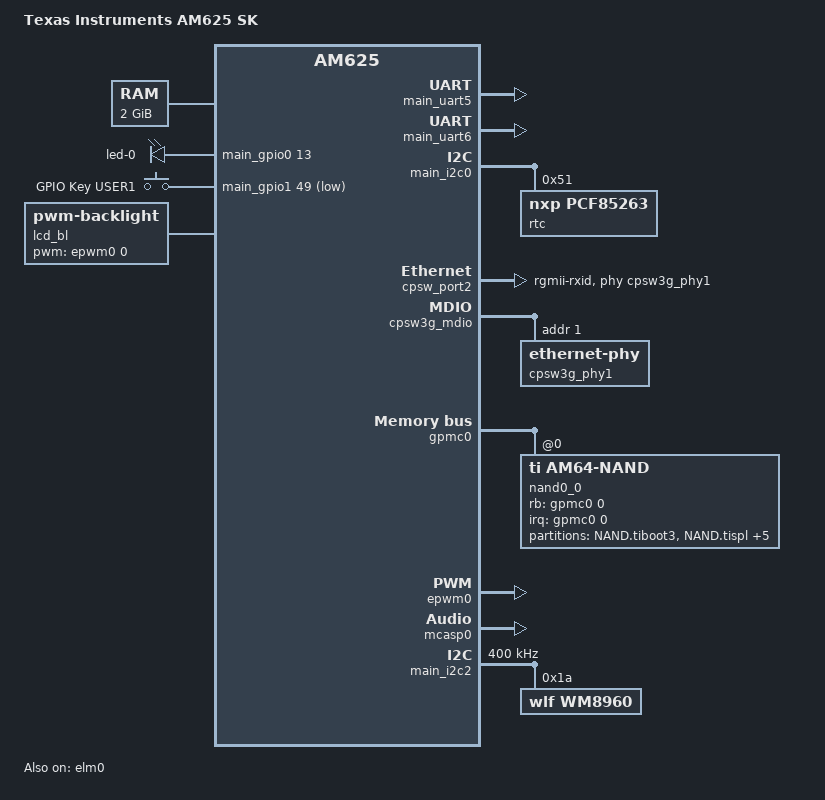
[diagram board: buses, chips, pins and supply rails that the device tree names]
/*
 * AM625 SK: https://www.ti.com/lit/zip/sprr448
 *
 * Copyright (C) 2021-2022 Texas Instruments Incorporated - https://www.ti.com/
 */

/dts-v1/;

#include <dt-bindings/input/input.h>
#include "k3-am62x-sk-common.dtsi"

/ {
	compatible = "ti,am625-sk", "ti,am625";
	model = "Texas Instruments AM625 SK";

	aliases {
		serial5 = &main_uart5;
		serial6 = &main_uart6;
	};

	opp-table {
		/* Add 1.4GHz OPP for am625-sk board. Requires VDD_CORE to be at 0.85V */
		opp-1400000000 {
			opp-hz = /bits/ 64 <1400000000>;
			opp-supported-hw = <0x01 0x0004>;
			clock-latency-ns = <6000000>;
		};
	};

	memory@80000000 {
		device_type = "memory";
		/* 2G RAM */
		reg = <0x00000000 0x80000000 0x00000000 0x80000000>;

	};

	/* crazyboys 20230713 removed wlan */
#if 0
	vmain_pd: regulator-0 {
		/* TPS65988 PD CONTROLLER OUTPUT */
		bootph-all;
		compatible = "regulator-fixed";
		regulator-name = "vmain_pd";
		regulator-min-microvolt = <5000000>;
		regulator-max-microvolt = <5000000>;
		regulator-always-on;
		regulator-boot-on;
	};

	vcc_5v0: regulator-1 {
		/* Output of LM34936 */
		bootph-all;
		compatible = "regulator-fixed";
		regulator-name = "vcc_5v0";
		regulator-min-microvolt = <5000000>;
		regulator-max-microvolt = <5000000>;
		vin-supply = <&vmain_pd>;
		regulator-always-on;
		regulator-boot-on;
	};

	vcc_3v3_sys: regulator-2 {
		/* output of LM61460-Q1 */
		bootph-all;
		compatible = "regulator-fixed";
		regulator-name = "vcc_3v3_sys";
		regulator-min-microvolt = <3300000>;
		regulator-max-microvolt = <3300000>;
		vin-supply = <&vmain_pd>;
		regulator-always-on;
		regulator-boot-on;
	};

	vdd_mmc1: regulator-3 {
		/* TPS22918DBVR */
		bootph-all;
		compatible = "regulator-fixed";
		regulator-name = "vdd_mmc1";
		regulator-min-microvolt = <3300000>;
		regulator-max-microvolt = <3300000>;
		regulator-boot-on;
		enable-active-high;
		vin-supply = <&vcc_3v3_sys>;
		gpio = <&exp1 3 GPIO_ACTIVE_HIGH>;
	};

	vdd_sd_dv: regulator-4 {
		/* Output of TLV71033 */
		bootph-all;
		compatible = "regulator-gpio";
		regulator-name = "tlv71033";
		pinctrl-names = "default";
		pinctrl-0 = <&vdd_sd_dv_pins_default>;
		regulator-min-microvolt = <1800000>;
		regulator-max-microvolt = <3300000>;
		regulator-boot-on;
		vin-supply = <&vcc_5v0>;
		gpios = <&main_gpio0 31 GPIO_ACTIVE_HIGH>;
		states = <1800000 0x0>,
			 <3300000 0x1>;
	};

	vcc_1v8: regulator-5 {
		/* output of TPS6282518DMQ */
		compatible = "regulator-fixed";
		regulator-name = "vcc_1v8";
		regulator-min-microvolt = <1800000>;
		regulator-max-microvolt = <1800000>;
		vin-supply = <&vcc_3v3_sys>;
		regulator-always-on;
		regulator-boot-on;
	};
#endif
	/* crazyboys 20230713 user led */
	leds {
		led-0 {
			gpios = <&main_gpio0 13 GPIO_ACTIVE_HIGH>;
		};
	};

	/* crazyboys 20230713 gpio key */
	gpio-keys {
		compatible = "gpio-keys";
		autorepeat;
		pinctrl-names = "default";
		pinctrl-0 = <&push_button_pins_default>;

		sw1 {
			label = "GPIO Key USER1";
			linux,code = <BTN_0>;
			gpios = <&main_gpio1 49 GPIO_ACTIVE_LOW>;
		};
	};

	lcd_bl: backlight {
		compatible = "pwm-backlight";
		pwms = <&epwm0 0 50000 0>;
		brightness-levels =
			<0 32 64 96 128 160 192 224 255>;
		default-brightness-level = <8>;
	};

	codec_audio: sound {
		compatible = "simple-audio-card";
		simple-audio-card,name = "AM62x-SKEVM";
		simple-audio-card,widgets =
			"Headphone",	"Headphone Jack",
			"Line",	"Line In",
            "Speaker", "Ext Spk",
			"Microphone",	"Microphone Jack";
		simple-audio-card,routing =
            "Playback",     "HP_L",
            "Playback",     "HP_R",
            "Playback", "SPK_LP",
            "Playback", "SPK_LN",
            "Playback", "SPK_RP",
            "Playback", "SPK_RN",
            "Headphone Jack", "HP_L",
            "Headphone Jack", "HP_R",
            "Ext Spk", "SPK_LP",
            "Ext Spk", "SPK_LN",
            "Ext Spk", "SPK_RP",
            "Ext Spk", "SPK_RN",
            "LINPUT1", "MICB";
		simple-audio-card,format = "i2s";
//		simple-audio-card,mclk-fs = <12288000>;

		/* crazyboy 20161215 CODEC is slave */
		/delete-property/ simple-audio-card,bitclock-master;
		/delete-property/ simple-audio-card,frame-master;
		/delete-property/ simple-audio-card,bitclock-inversion;

		simple-audio-card,system-clock-direction-out;
 
		simple-audio-card,cpu {
			sound-dai = <&mcasp0>;
			system-clock-frequency = <24000000>;
		};

		sound_master: simple-audio-card,codec {
			sound-dai = <&wm8960>;
			system-clock-frequency = <24000000>;
			/delete-property/ clocks;
		};
	};
};

/* crazyboys 20230712 removed */
/delete-node/ &ospi0_pins_default;
/delete-node/ &tlv320_mclk;

&main_pmx0 {
	main_rgmii2_pins_default: main-rgmii2-default-pins {
		bootph-all;
		pinctrl-single,pins = <
			AM62X_IOPAD(0x184, PIN_INPUT, 0) /* (AE23) RGMII2_RD0 */
			AM62X_IOPAD(0x188, PIN_INPUT, 0) /* (AB20) RGMII2_RD1 */
			AM62X_IOPAD(0x18c, PIN_INPUT, 0) /* (AC21) RGMII2_RD2 */
			AM62X_IOPAD(0x190, PIN_INPUT, 0) /* (AE22) RGMII2_RD3 */
			AM62X_IOPAD(0x180, PIN_INPUT, 0) /* (AD23) RGMII2_RXC */
			AM62X_IOPAD(0x17c, PIN_INPUT, 0) /* (AD22) RGMII2_RX_CTL */
			AM62X_IOPAD(0x16c, PIN_OUTPUT, 0) /* (Y18) RGMII2_TD0 */
			AM62X_IOPAD(0x170, PIN_OUTPUT, 0) /* (AA18) RGMII2_TD1 */
			AM62X_IOPAD(0x174, PIN_OUTPUT, 0) /* (AD21) RGMII2_TD2 */
			AM62X_IOPAD(0x178, PIN_OUTPUT, 0) /* (AC20) RGMII2_TD3 */
			AM62X_IOPAD(0x168, PIN_OUTPUT, 0) /* (AE21) RGMII2_TXC */
			AM62X_IOPAD(0x164, PIN_OUTPUT, 0) /* (AA19) RGMII2_TX_CTL */
		>;
	};

	/* crazyboys 20230713 removed wlan */
#if 0
	ospi0_pins_default: ospi0-default-pins {
		bootph-all;
		pinctrl-single,pins = <
			AM62X_IOPAD(0x000, PIN_OUTPUT, 0) /* (H24) OSPI0_CLK */
			AM62X_IOPAD(0x02c, PIN_OUTPUT, 0) /* (F23) OSPI0_CSn0 */
			AM62X_IOPAD(0x00c, PIN_INPUT, 0) /* (E25) OSPI0_D0 */
			AM62X_IOPAD(0x010, PIN_INPUT, 0) /* (G24) OSPI0_D1 */
			AM62X_IOPAD(0x014, PIN_INPUT, 0) /* (F25) OSPI0_D2 */
			AM62X_IOPAD(0x018, PIN_INPUT, 0) /* (F24) OSPI0_D3 */
			AM62X_IOPAD(0x01c, PIN_INPUT, 0) /* (J23) OSPI0_D4 */
			AM62X_IOPAD(0x020, PIN_INPUT, 0) /* (J25) OSPI0_D5 */
			AM62X_IOPAD(0x024, PIN_INPUT, 0) /* (H25) OSPI0_D6 */
			AM62X_IOPAD(0x028, PIN_INPUT, 0) /* (J22) OSPI0_D7 */
			AM62X_IOPAD(0x008, PIN_INPUT, 0) /* (J24) OSPI0_DQS */
		>;
	};

	vdd_sd_dv_pins_default: vdd-sd-dv-default-pins {
		bootph-all;
		pinctrl-single,pins = <
			AM62X_IOPAD(0x07c, PIN_OUTPUT, 7) /* (P25) GPMC0_CLK.GPIO0_31 */
		>;
	};

	main_gpio1_ioexp_intr_pins_default: main-gpio1-ioexp-intr-default-pins {
		bootph-all;
		pinctrl-single,pins = <
			AM62X_IOPAD(0x01d4, PIN_INPUT, 7) /* (B15) UART0_RTSn.GPIO1_23 */
		>;
	};
#endif
		/* crazyboys 20230713 user led */
	usr_led_pins_default: usr-led-default-pins {
		pinctrl-single,pins = <
			AM62X_IOPAD(0x034, PIN_OUTPUT, 7) /* (H21) OSPI0_CSn2.GPIO0_13 */
			AM62X_IOPAD(0x000, PIN_OUTPUT, 7) /* (H24) OSPI0_CLK.GPIO0_0 */
			AM62X_IOPAD(0x038, PIN_OUTPUT, 7) /* (E24) OSPI0_CSn3.GPIO0_14 */
			AM62X_IOPAD(0x094, PIN_OUTPUT, 7) /* (N20) GPMC0_BE1n.GPIO0_36 */
		>;
	};

	/* crazyboys 20230713 gpio key */
	push_button_pins_default: push-button-pins-default {
		pinctrl-single,pins = <
			AM62X_IOPAD(0x244, PIN_INPUT, 7) /* (C17) MMC1_SDWP.GPIO1_49 */
		>;
	};

	main_usb0_pins_default: main-usb0-pins-default {
	    pinctrl-single,pins = <
            AM62X_IOPAD(0x254, PIN_INPUT, 7) /* (C20) USB0_DRVVBUS.GPIO1_50 */
	    >;
	};

	main_usb1_pins_default: main-usb1-default-pins {
		pinctrl-single,pins = <
			AM62X_IOPAD(0x0258, PIN_INPUT, 7) /* (F18/E16) USB1_DRVVBUS.GPIO1_51 */
		>;
	};

	/* crazyboys 20230713 nand */
	gpmc0_pins_default: gpmc0-pins-default {
		pinctrl-single,pins = <
			AM62X_IOPAD(0x003c, PIN_INPUT, 0) /* (M25) GPMC0_AD0 */
			AM62X_IOPAD(0x0040, PIN_INPUT, 0) /* (N23) GPMC0_AD1 */
			AM62X_IOPAD(0x0044, PIN_INPUT, 0) /* (N24) GPMC0_AD2 */
			AM62X_IOPAD(0x0048, PIN_INPUT, 0) /* (N25) GPMC0_AD3 */
			AM62X_IOPAD(0x004c, PIN_INPUT, 0) /* (P24) GPMC0_AD4 */
			AM62X_IOPAD(0x0050, PIN_INPUT, 0) /* (P22) GPMC0_AD5 */
			AM62X_IOPAD(0x0054, PIN_INPUT, 0) /* (P21) GPMC0_AD6 */
			AM62X_IOPAD(0x0058, PIN_INPUT, 0) /* (R23) GPMC0_AD7 */
			AM62X_IOPAD(0x0084, PIN_OUTPUT, 0) /* (L23) GPMC0_ADVn_ALE */
			AM62X_IOPAD(0x0088, PIN_OUTPUT, 0) /* (L24) GPMC0_OEn_REn */
			AM62X_IOPAD(0x008c, PIN_OUTPUT, 0) /* (L25) GPMC0_WEn */
			AM62X_IOPAD(0x0090, PIN_OUTPUT, 0) /* (M24) GPMC0_BE0n_CLE */
			AM62X_IOPAD(0x00a8, PIN_OUTPUT, 0) /* (M21) GPMC0_CSn0 */
			AM62X_IOPAD(0x0098, PIN_INPUT, 0) /* (U23) GPMC0_WAIT0 */
		>;
	};

	/* crazyboys 20230718 lcd pwm backlight */
	main_epwm0_pins_default: main-epwm0-pins-default {
		pinctrl-single,pins = <
			AM62X_IOPAD(0x01ac, PIN_OUTPUT, 6) /* (E19) MCASP0_AFSR.EHRPWM0_A */
		>;
	};

	main_mcasp0_pins_default: main-mcasp0-pins-default {
		pinctrl-single,pins = <
			AM62X_IOPAD(0x01a0, PIN_OUTPUT, 2) /* (E18) MCASP0_AXR0.AUDIO_EXT_REFCLK0 */
			AM62X_IOPAD(0x01a4, PIN_INPUT, 0) /* (B20) MCASP0_ACLKX.MCASP0_ACLKX */
			AM62X_IOPAD(0x01a8, PIN_INPUT, 0) /* (D20) MCASP0_AFSX.MCASP0_AFSX */
			AM62X_IOPAD(0x019c, PIN_OUTPUT, 0) /* (B18) MCASP0_AXR1.MCASP0_AXR1 */
			AM62X_IOPAD(0x0198, PIN_INPUT, 0) /* (A19) MCASP0_AXR2.MCASP0_AXR2 */
		>;
	};

	main_oldi0_pins_default: main-oldi0-pins-default {
		pinctrl-single,pins = <
			AM62X_IOPAD(0x0260, PIN_OUTPUT, 0) /* (AA5) OLDI0_A0N */
			AM62X_IOPAD(0x025c, PIN_OUTPUT, 0) /* (Y6) OLDI0_A0P */
			AM62X_IOPAD(0x0268, PIN_OUTPUT, 0) /* (AD3) OLDI0_A1N */
			AM62X_IOPAD(0x0264, PIN_OUTPUT, 0) /* (AB4) OLDI0_A1P */
			AM62X_IOPAD(0x0270, PIN_OUTPUT, 0) /* (Y8) OLDI0_A2N */
			AM62X_IOPAD(0x026c, PIN_OUTPUT, 0) /* (AA8) OLDI0_A2P */
			AM62X_IOPAD(0x0278, PIN_OUTPUT, 0) /* (AB6) OLDI0_A3N */
			AM62X_IOPAD(0x0274, PIN_OUTPUT, 0) /* (AA7) OLDI0_A3P */
			AM62X_IOPAD(0x0280, PIN_OUTPUT, 0) /* (AC6) OLDI0_A4N */
			AM62X_IOPAD(0x027c, PIN_OUTPUT, 0) /* (AC5) OLDI0_A4P */
			AM62X_IOPAD(0x0288, PIN_OUTPUT, 0) /* (AE5) OLDI0_A5N */
			AM62X_IOPAD(0x0284, PIN_OUTPUT, 0) /* (AD6) OLDI0_A5P */
			AM62X_IOPAD(0x0290, PIN_OUTPUT, 0) /* (AE6) OLDI0_A6N */
			AM62X_IOPAD(0x028c, PIN_OUTPUT, 0) /* (AD7) OLDI0_A6P */
			AM62X_IOPAD(0x0298, PIN_OUTPUT, 0) /* (AD8) OLDI0_A7N */
			AM62X_IOPAD(0x0294, PIN_OUTPUT, 0) /* (AE7) OLDI0_A7P */
			AM62X_IOPAD(0x02a0, PIN_OUTPUT, 0) /* (AD4) OLDI0_CLK0N */
			AM62X_IOPAD(0x029c, PIN_OUTPUT, 0) /* (AE3) OLDI0_CLK0P */
			AM62X_IOPAD(0x02a8, PIN_OUTPUT, 0) /* (AE4) OLDI0_CLK1N */
			AM62X_IOPAD(0x02a4, PIN_OUTPUT, 0) /* (AD5) OLDI0_CLK1P */
		>;
	};

	main_uart5_pins_default: main-uart5-pins-default {
		pinctrl-single,pins = <
			AM62X_IOPAD(0x1d8, PIN_INPUT, 1) /* (C15/B13) MCAN0_TX.UART5_RXD */
			AM62X_IOPAD(0x1dc, PIN_OUTPUT, 1) /* (E15/A15) MCAN0_RX.UART5_TXD */
		>;
	};

	main_uart6_pins_default: main-uart6-pins-default {
		pinctrl-single,pins = <
			AM62X_IOPAD(0x01C, PIN_INPUT, 3) /* (D14/A13) OSPI0_D4.UART6_RXD */
			AM62X_IOPAD(0x020, PIN_OUTPUT, 3) /* (J25/H21) OSPI0_D5.UART6_TXD */
			AM62X_IOPAD(0x024, PIN_OUTPUT, 7) /* (H25/G20) OSPI0_D6.GPIO0_9 */
			AM62X_IOPAD(0x028, PIN_OUTPUT, 7) /* (J22/J21) OSPI0_D7.GPIO0_10 */
		>;
	};
};

&main_uart5 {
	status = "okay";
	pinctrl-names = "default";
	pinctrl-0 = <&main_uart5_pins_default>;
};

&main_uart6 {
	status = "okay";
	pinctrl-names = "default";
	pinctrl-0 = <&main_uart6_pins_default>;

	rs485-rts-delay = <1 1>;
	rs485-rts-active-high;
	rs485-rx-during-tx;
	rs485-rts-gpios = <&main_gpio0 9 GPIO_ACTIVE_HIGH>;
	rs485-term-gpios = <&main_gpio0 10 GPIO_ACTIVE_HIGH>;
	linux,rs485-enabled-at-boot-time;
};

/* crazyboys 20230713 RTC */
&main_i2c0 {
	/delete-node/ tps6598x@3f;

	rtc@51 {
		compatible = "nxp,pcf85263";
        reg = <0x51>;
	};
};

&main_gpio0 {
	bootph-all;
};

&main_gpio1 {
	bootph-all;
};

/* crazyboys 20230713 delete gpio expander */
&main_i2c1 {
	/delete-node/ sii9022@3b;
	/delete-node/ audio-codec@1b;

/*
	exp1: gpio@22 {
		compatible = "ti,tca6424";
		reg = <0x22>;
		gpio-controller;
		#gpio-cells = <2>;
		gpio-line-names = "GPIO_CPSW2_RST", "GPIO_CPSW1_RST",
				   "PRU_DETECT", "MMC1_SD_EN",
				   "VPP_LDO_EN", "EXP_PS_3V3_En",
				   "EXP_PS_5V0_En", "EXP_HAT_DETECT",
				   "GPIO_AUD_RSTn", "GPIO_eMMC_RSTn",
				   "UART1_FET_BUF_EN", "WL_LT_EN",
				   "GPIO_HDMI_RSTn", "CSI_GPIO1",
				   "CSI_GPIO2", "PRU_3V3_EN",
				   "HDMI_INTn", "PD_I2C_IRQ",
				   "MCASP1_FET_EN", "MCASP1_BUF_BT_EN",
				   "MCASP1_FET_SEL", "UART1_FET_SEL",
				   "TSINT#", "IO_EXP_TEST_LED";

		interrupt-parent = <&main_gpio1>;
		interrupts = <23 IRQ_TYPE_EDGE_FALLING>;
		interrupt-controller;
		#interrupt-cells = <2>;

		pinctrl-names = "default";
		pinctrl-0 = <&main_gpio1_ioexp_intr_pins_default>;
	};
*/
};

/* crazyboys 20230712 delete vmmc-supply/vqmmc-supply of MMC1 */
&sdhci1 {
	/delete-property/ vmmc-supply;
	/delete-property/ vqmmc-supply;
	no-1-8-v;
};

&sdhci2 {
	status = "disabled";
};


&cpsw3g {
	pinctrl-names = "default";
	pinctrl-0 = <&main_rgmii1_pins_default
		     &main_rgmii2_pins_default>;

	cpts@3d000 {
		/* MAP HW3_TS_PUSH to GENF1 */
		ti,pps = <2 1>;
	};
};

&cpsw_port2 {
	phy-mode = "rgmii-rxid";
	phy-handle = <&cpsw3g_phy1>;
};

&cpsw3g_mdio {
	cpsw3g_phy1: ethernet-phy@1 {
		reg = <1>;
		ti,rx-internal-delay = <DP83867_RGMIIDCTL_2_00_NS>;
		ti,fifo-depth = <DP83867_PHYCR_FIFO_DEPTH_4_B_NIB>;
		ti,min-output-impedance;
	};
};

&mailbox0_cluster0 {
	mbox_m4_0: mbox-m4-0 {
		ti,mbox-rx = <0 0 0>;
		ti,mbox-tx = <1 0 0>;
	};
};

&fss {
	bootph-all;
};

/* crazyboys 20230712 removed ospi0 */
&ospi0 {
	/delete-property/ pinctrl-names;
	/delete-property/ pinctrl-0;

	status = "disabled";
	
	/*
	flash@0{
		compatible = "jedec,spi-nor";
		reg = <0x0>;
		spi-tx-bus-width = <8>;
		spi-rx-bus-width = <8>;
		spi-max-frequency = <25000000>;
		cdns,tshsl-ns = <60>;
		cdns,tsd2d-ns = <60>;
		cdns,tchsh-ns = <60>;
		cdns,tslch-ns = <60>;
		cdns,read-delay = <4>;

		partitions {
			compatible = "fixed-partitions";
			#address-cells = <1>;
			#size-cells = <1>;

			partition@0 {
				label = "ospi.tiboot3";
				reg = <0x0 0x80000>;
			};

			partition@80000 {
				label = "ospi.tispl";
				reg = <0x80000 0x200000>;
			};

			partition@280000 {
				label = "ospi.u-boot";
				reg = <0x280000 0x400000>;
			};

			partition@680000 {
				label = "ospi.env";
				reg = <0x680000 0x40000>;
			};

			partition@6c0000 {
				label = "ospi.env.backup";
				reg = <0x6c0000 0x40000>;
			};

			partition@800000 {
				label = "ospi.rootfs";
				reg = <0x800000 0x37c0000>;
			};

			partition@3fc0000 {
				label = "ospi.phypattern";
				reg = <0x3fc0000 0x40000>;
			};
		};
	};
	*/
};

#if 0
&tlv320aic3106 {
	DVDD-supply = <&vcc_1v8>;
};

#define K3_TS_OFFSET(pa, val)	(0x4+(pa)*4) (0x10000 | val)

&timesync_router {
	status = "okay";
	pinctrl-names = "default";
	pinctrl-0 = <&cpsw_cpts>;

	/* Use Time Sync Router to map GENF1 input to HW3_TS_PUSH output */
	cpsw_cpts: cpsw-cpts {
		pinctrl-single,pins = <
			/* pps [cpsw cpts genf1] in17 -> out12 [cpsw cpts hw3_push] */
			K3_TS_OFFSET(12, 17)
			>;
	};
};
#endif

/* crazyboys 20230712 usb device */
&usb0 {
    pinctrl-names = "default";
    pinctrl-0 = <&main_usb0_pins_default>;
 
 	/delete-property/#address-cells;
	/delete-property/#size-cells;
	/delete-node/ port@0;
};

&dss_ports {
 	/delete-property/#address-cells;
	/delete-property/#size-cells;
	/delete-node/ port@1;
};

/* crazyboys 20230713 nand */
&elm0 {
	status = "okay";
};

&gpmc0 {
	pinctrl-names = "default";
	status = "okay";
	pinctrl-0 = <&gpmc0_pins_default>;
	ranges = <0 0 0x00 0x51000000 0x01000000>; /* CS0 space. Min partition = 16MB */
	#address-cells = <2>;
	#size-cells = <1>;

	nand0_0: nand@0,0 {
		compatible = "ti,am64-nand";
		reg = <0 0 64>;         /* device IO registers */
		interrupt-parent = <&gpmc0>;
		interrupts = <0 IRQ_TYPE_NONE>, /* fifoevent */
			     <1 IRQ_TYPE_NONE>; /* termcount */
		rb-gpios = <&gpmc0 0 GPIO_ACTIVE_HIGH>; /* gpmc_wait0 */
		ti,nand-xfer-type = "prefetch-polled";
		ti,nand-ecc-opt = "bch8";       /* BCH8: Bootrom limitation */
		ti,elm-id = <&elm0>;
		nand-bus-width = <8>;
		gpmc,device-width = <1>;
		gpmc,sync-clk-ps = <0>;
		gpmc,cs-on-ns = <0>;
		gpmc,cs-rd-off-ns = <40>;
		gpmc,cs-wr-off-ns = <40>;
		gpmc,adv-on-ns = <0>;
		gpmc,adv-rd-off-ns = <25>;
		gpmc,adv-wr-off-ns = <25>;
		gpmc,we-on-ns = <0>;
		gpmc,we-off-ns = <20>;
		gpmc,oe-on-ns = <3>;
		gpmc,oe-off-ns = <30>;
		gpmc,access-ns = <30>;
		gpmc,rd-cycle-ns = <40>;
		gpmc,wr-cycle-ns = <40>;
		gpmc,bus-turnaround-ns = <0>;
		gpmc,cycle2cycle-delay-ns = <0>;
		gpmc,clk-activation-ns = <0>;
		gpmc,wr-access-ns = <40>;
		gpmc,wr-data-mux-bus-ns = <0>;

		partitions {
			compatible = "fixed-partitions";
			#address-cells = <1>;
			#size-cells = <1>;

			partition@0 {
				label = "NAND.tiboot3";
				reg = <0x00000000 0x00200000>;  /* 2M */
			};
			partition@200000 {
				label = "NAND.tispl";
				reg = <0x00200000 0x00200000>;  /* 2M */
			};
			partition@400000 {
				label = "NAND.tiboot3.backup";  /* 2M */
				reg = <0x00400000 0x00200000>;  /* BootROM looks at 4M */
			};
			partition@600000 {
				label = "NAND.u-boot";
				reg = <0x00600000 0x00400000>;  /* 4M */
			};
			partition@a00000 {
				label = "NAND.u-boot-env";
				reg = <0x00a00000 0x00040000>;  /* 256K */
			};
			partition@a40000 {
				label = "NAND.u-boot-env.backup";
				reg = <0x00a40000 0x00040000>;  /* 256K */
			};
			partition@a80000 {
				label = "NAND.file-system";
				reg = <0x00a80000 0xf580000>;
			};
		};
	};
};

/* crazyboys 20230718 lcd pwm backlight */
&epwm0 {
	pinctrl-names = "default";
	pinctrl-0 = <&main_epwm0_pins_default>;
	status = "okay";
};

&mcasp1 {
	status = "disabled";
};

&mcasp0 {
	status = "okay";
	#sound-dai-cells = <0>;

	pinctrl-names = "default";
	pinctrl-0 = <&main_mcasp0_pins_default>;

	op-mode = <0>;          /* MCASP_IIS_MODE */
	tdm-slots = <2>;

	serial-dir = <  /* 0: INACTIVE, 1: TX, 2: RX */
	       0 1 2 0
	       0 0 0 0
	       0 0 0 0
	       0 0 0 0
	>;
	tx-num-evt = <32>;
	rx-num-evt = <32>;
};

&audio_refclk0 {
	assigned-clock-parents = <&k3_clks 157 7>;
    assigned-clock-rates = <24000000>;
};


&main_i2c2 {
	status = "okay";
	pinctrl-names = "default";
	pinctrl-0 = <&main_i2c2_pins_default>;
	clock-frequency = <400000>;

	wm8960: audio-codec@1a {
		#sound-dai-cells = <0>;
		compatible = "wlf,wm8960";
		reg = <0x1a>;
        status = "okay";

		wlf,shared-lrclk;
	};
};

&dss {
        pixel-format = "BGR24";
        pinctrl-names = "default";
        pinctrl-0 = <&main_oldi0_pins_default &main_dss0_pins_default>;
};

#if 1
&main_rti1 {
                status = "disabled";
};

&main_rti2 {
                status = "disabled";
};

&main_rti3 {
                status = "disabled";
};


/* AM623x - disable GPU */
&gpu {
                status = "disabled";
};

&main_rti15 {
                status = "disabled";
};

/* AM6231/AM6251 - disable PRUSS */
&pruss {
        status = "disabled";
};
#endif

